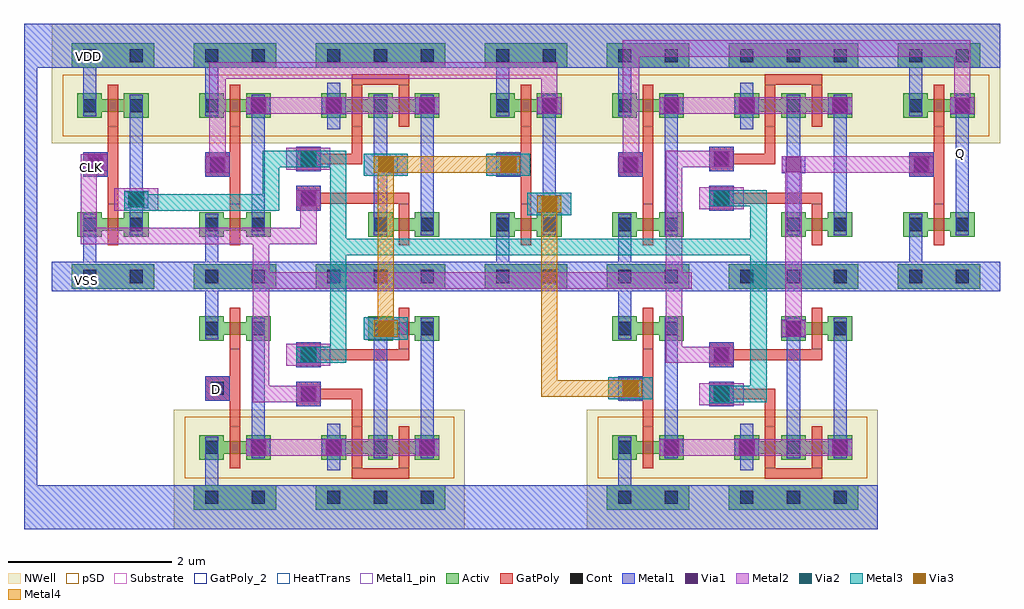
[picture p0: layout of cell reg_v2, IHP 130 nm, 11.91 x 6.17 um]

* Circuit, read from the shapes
.subckt reg_v2 CLK D Q VDD VSS
XM1 inv_10/VOUT CLK VSS VSS sg13_lv_nmos w=0.15u l=0.13u
XM2 tg_custom_0/VIN D VSS VSS sg13_lv_nmos w=0.15u l=0.13u
XM3 tg_custom_5/VIN inv_2/VIN VSS VSS sg13_lv_nmos w=0.15u l=0.13u
XM4 tg_custom_0/VIN inv_10/VOUT inv_4/VIN VSS sg13_lv_nmos w=0.15u l=0.13u
XM5 tg_custom_5/VIN CLK inv_4/VIN VSS sg13_lv_nmos w=0.15u l=0.13u
XM6 inv_2/VIN inv_4/VIN VSS VSS sg13_lv_nmos w=0.15u l=0.13u
XM7 tg_custom_6/VIN inv_2/VIN VSS VSS sg13_lv_nmos w=0.15u l=0.13u
XM8 tg_custom_7/VIN Q VSS VSS sg13_lv_nmos w=0.15u l=0.13u
XM9 tg_custom_6/VIN CLK inv_9/VIN VSS sg13_lv_nmos w=0.15u l=0.13u
XM10 tg_custom_7/VIN inv_10/VOUT inv_9/VIN VSS sg13_lv_nmos w=0.15u l=0.13u
XM11 Q inv_9/VIN VSS VSS sg13_lv_nmos w=0.15u l=0.13u
XM12 inv_10/VOUT CLK VDD VDD sg13_lv_pmos w=0.15u l=0.13u
XM13 tg_custom_0/VIN D VDD VDD sg13_lv_pmos w=0.15u l=0.13u
XM14 tg_custom_5/VIN inv_2/VIN VDD VDD sg13_lv_pmos w=0.15u l=0.13u
XM15 inv_4/VIN CLK tg_custom_0/VIN VDD sg13_lv_pmos w=0.15u l=0.13u m=2
XM16 inv_4/VIN inv_10/VOUT tg_custom_5/VIN VDD sg13_lv_pmos w=0.15u l=0.13u m=2
XM17 inv_2/VIN inv_4/VIN VDD VDD sg13_lv_pmos w=0.15u l=0.13u
XM18 tg_custom_6/VIN inv_2/VIN VDD VDD sg13_lv_pmos w=0.15u l=0.13u
XM19 tg_custom_7/VIN Q VDD VDD sg13_lv_pmos w=0.15u l=0.13u
XM20 inv_9/VIN inv_10/VOUT tg_custom_6/VIN VDD sg13_lv_pmos w=0.15u l=0.13u m=2
XM21 inv_9/VIN CLK tg_custom_7/VIN VDD sg13_lv_pmos w=0.15u l=0.13u m=2
XM22 Q inv_9/VIN VDD VDD sg13_lv_pmos w=0.15u l=0.13u
.ends

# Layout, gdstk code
from math import pi, radians
import gdstk
lib = gdstk.Library(unit=1e-6, precision=5e-09)
def R(c, l, rs):  # rectangles x0, y0, x1, y1
    for r in rs: c.add(gdstk.rectangle(r[:2], r[2:], *l))
def A(c, l, x, y, w, h, nx, ny, dx, dy):  # array of equal rectangles
    R(c, l, [(x+i*dx, y+j*dy, x+i*dx+w, y+j*dy+h) for i in range(nx) for j in range(ny)])
Activ = (1, 0)
GatPoly = (5, 0)
GatPoly_2 = (5, 2)
Cont = (6, 0)
Metal1 = (8, 0)
Metal1_pin = (8, 2)
Metal2 = (10, 0)
pSD = (14, 0)
Via1 = (19, 0)
Via2 = (29, 0)
Metal3 = (30, 0)
NWell = (31, 0)
Substrate = (40, 0)
Via3 = (49, 0)
Metal4 = (50, 0)
HeatTrans = (51, 0)

nmos = lib.new_cell('nmos')
R(nmos, Activ, [(0,0,0.3,0.3), (0.57,0,0.87,0.3), (0,0.075,0.87,0.225)])
R(nmos, GatPoly, [(0.37,-0.105,0.5,0.405)])
R(nmos, GatPoly_2, [(0.37,-0.105,0.5,0.405)])
R(nmos, Cont, [(0.07,0.07,0.23,0.23), (0.64,0.07,0.8,0.23)])
R(nmos, Metal1, [(0.07,0.02,0.23,0.28), (0.64,0.02,0.8,0.28)])
R(nmos, Metal1_pin, [(0.07,0.02,0.23,0.28), (0.64,0.02,0.8,0.28)])
R(nmos, HeatTrans, [(0.37,-0.105,0.5,0.405)])
nmos.add(gdstk.Label('nmos', (0.435,0.15), layer=63, texttype=0))
nmos.add(gdstk.Label('nmos', (0.435,0.15), layer=51, texttype=0))

pmos = lib.new_cell('pmos')
A(pmos, Activ, 0, 0, 0.3, 0.3, 3, 1, 0.57, 0)
R(pmos, Activ, [(0,0.075,1.44,0.225)])
R(pmos, GatPoly, [(0.37,-0.105,0.5,0.405), (0.37,-0.105,0.5,0.405), (0.94,-0.105,1.07,0.405)])
A(pmos, Cont, 0.07, 0.07, 0.16, 0.16, 3, 1, 0.57, 0)
R(pmos, Metal1, [(0.07,0.02,0.23,0.28), (0.07,0.02,0.23,0.28), (0.64,0.02,0.8,0.28), (0.64,0.02,0.8,0.28), (1.21,0.02,1.37,0.28)])
R(pmos, pSD, [(-0.18,-0.225,1.62,0.525)])
R(pmos, NWell, [(-0.31,-0.31,1.75,0.61)])
R(pmos, Substrate, [(1.14,0,1.44,0.3)])
R(pmos, HeatTrans, [(0.37,-0.105,0.5,0.405), (0.94,-0.105,1.07,0.405)])
pmos.add(gdstk.Label('pmos', (0.435,0.15), layer=63, texttype=0))
pmos.add(gdstk.Label('pmos', (0.435,0.15), layer=51, texttype=0))
pmos.add(gdstk.Label('pmos', (1.005,0.15), layer=51, texttype=0))

nmos_1 = lib.new_cell('nmos$1')
R(nmos_1, Activ, [(0,0,0.3,0.3), (0.57,0,0.87,0.3), (0,0.075,0.87,0.225)])
R(nmos_1, GatPoly, [(0.37,-0.105,0.5,0.405)])
R(nmos_1, GatPoly_2, [(0.37,-0.105,0.5,0.405)])
R(nmos_1, Cont, [(0.07,0.07,0.23,0.23), (0.64,0.07,0.8,0.23)])
R(nmos_1, Metal1, [(0.07,0.02,0.23,0.28), (0.64,0.02,0.8,0.28)])
R(nmos_1, Metal1_pin, [(0.07,0.02,0.23,0.28), (0.64,0.02,0.8,0.28)])
R(nmos_1, HeatTrans, [(0.37,-0.105,0.5,0.405)])
nmos_1.add(gdstk.Label('nmos', (0.435,0.15), layer=63, texttype=0))
nmos_1.add(gdstk.Label('nmos', (0.435,0.15), layer=51, texttype=0))

pmos_1 = lib.new_cell('pmos$1')
A(pmos_1, Activ, 0, 0, 0.3, 0.3, 3, 1, 0.57, 0)
R(pmos_1, Activ, [(0,0.075,1.44,0.225)])
R(pmos_1, GatPoly, [(0.37,-0.105,0.5,0.405), (0.37,-0.105,0.5,0.405), (0.94,-0.105,1.07,0.405)])
A(pmos_1, Cont, 0.07, 0.07, 0.16, 0.16, 3, 1, 0.57, 0)
R(pmos_1, Metal1, [(0.07,0.02,0.23,0.28), (0.07,0.02,0.23,0.28), (0.64,0.02,0.8,0.28), (0.64,0.02,0.8,0.28), (1.21,0.02,1.37,0.28)])
R(pmos_1, pSD, [(-0.18,-0.225,1.62,0.525)])
R(pmos_1, NWell, [(-0.31,-0.31,1.75,0.61)])
R(pmos_1, Substrate, [(1.14,0,1.44,0.3)])
R(pmos_1, HeatTrans, [(0.37,-0.105,0.5,0.405), (0.94,-0.105,1.07,0.405)])
pmos_1.add(gdstk.Label('pmos', (0.435,0.15), layer=63, texttype=0))
pmos_1.add(gdstk.Label('pmos', (0.435,0.15), layer=51, texttype=0))
pmos_1.add(gdstk.Label('pmos', (1.005,0.15), layer=51, texttype=0))

tg_custom = lib.new_cell('tg_custom')
R(tg_custom, Activ, [(0.445,0.87,2.025,1.17), (0.445,0.87,2.025,1.17), (0.445,3.565,2.025,3.865), (0.445,3.565,2.025,3.865)])
R(tg_custom, GatPoly, [(1.965,1.825,2.265,2.125), (1.965,1.825,2.265,2.125), (0.885,1.91,1.965,2.04), (0.885,1.91,1.965,2.04), (1.965,2.305,2.265,2.605), (1.965,2.305,2.265,2.605), (1.455,2.39,1.585,2.85), (1.455,2.39,1.585,2.85), (1.455,2.39,1.965,2.52), (1.455,2.39,1.965,2.52), (0.885,3.36,1.585,3.49), (0.885,3.36,1.585,3.49)])
R(tg_custom, Cont, [(0.585,0.94,0.745,1.1), (0.585,0.94,0.745,1.1), (1.155,0.94,1.315,1.1), (1.155,0.94,1.315,1.1), (1.725,0.94,1.885,1.1), (1.725,0.94,1.885,1.1), (2.035,1.895,2.195,2.055), (2.035,1.895,2.195,2.055), (2.035,2.375,2.195,2.535), (2.035,2.375,2.195,2.535), (0.585,3.635,0.745,3.795), (0.585,3.635,0.745,3.795), (1.155,3.635,1.315,3.795), (1.155,3.635,1.315,3.795), (1.725,3.635,1.885,3.795), (1.725,3.635,1.885,3.795)])
R(tg_custom, Metal1, [(0.205,0.84,2.265,1.2), (0.205,0.84,2.265,1.2), (0.585,1.525,0.745,3.235), (0.585,1.525,0.745,3.235), (1.155,1.525,1.315,3.235), (1.155,1.525,1.315,3.235), (1.965,1.825,2.265,2.125), (1.965,1.825,2.265,2.125), (1.965,2.305,2.265,2.605), (1.965,2.305,2.265,2.605), (1.725,2.815,1.885,3.385), (1.725,2.815,1.885,3.385), (0.52,3,0.81,3.21), (0.52,3,0.81,3.21), (1.66,3,1.95,3.21), (1.66,3,1.95,3.21), (0.205,3.565,2.265,4.105), (0.205,3.565,2.265,4.105)])
R(tg_custom, Metal1_pin, [(0.205,0.84,2.265,1.2), (0.205,0.84,2.265,1.2), (0.585,1.525,0.745,3.235), (0.585,1.525,0.745,3.235), (1.155,1.525,1.315,3.235), (1.155,1.525,1.315,3.235), (1.965,1.825,2.265,2.125), (1.965,1.825,2.265,2.125), (1.965,2.305,2.265,2.605), (1.965,2.305,2.265,2.605), (0.205,3.565,2.265,4.105), (0.205,3.565,2.265,4.105)])
R(tg_custom, Metal2, [(0.52,3.005,1.95,3.205), (0.52,3.005,1.95,3.205), (0.52,3.005,0.81,3.205), (0.52,3.005,0.81,3.205), (1.66,3.005,1.95,3.205), (1.66,3.005,1.95,3.205)])
R(tg_custom, pSD, [(0.205,0.84,2.265,1.2), (0.205,0.84,2.265,1.2)])
R(tg_custom, Via1, [(0.57,3.01,0.76,3.2), (0.57,3.01,0.76,3.2), (1.71,3.01,1.9,3.2), (1.71,3.01,1.9,3.2)])
R(tg_custom, NWell, [(0.205,3.565,2.265,4.105), (0.205,3.565,2.265,4.105)])
tg_custom.add(gdstk.Reference(nmos, (0.515,1.505)))
tg_custom.add(gdstk.Reference(pmos, (0.515,2.955)))
tg_custom.add(gdstk.Reference(nmos_1, (0.515,1.505)))
tg_custom.add(gdstk.Reference(pmos_1, (0.515,2.955)))
tg_custom.add(gdstk.Label('VBN', (1.335,1.02), layer=8, texttype=25))
tg_custom.add(gdstk.Label('VOUT', (1.16,1.98), layer=8, texttype=25))
tg_custom.add(gdstk.Label('VSP', (2.115,2.455), layer=8, texttype=25))
tg_custom.add(gdstk.Label('VIN', (0.6,3.21), layer=8, texttype=25))
tg_custom.add(gdstk.Label('VSN', (2.115,1.975), layer=8, texttype=25))
tg_custom.add(gdstk.Label('VBP', (1.235,3.715), layer=8, texttype=25))
tg_custom.add(gdstk.Label('VBN', (1.335,1.02), layer=8, texttype=25))
tg_custom.add(gdstk.Label('VOUT', (1.16,1.98), layer=8, texttype=25))
tg_custom.add(gdstk.Label('VSP', (2.115,2.455), layer=8, texttype=25))
tg_custom.add(gdstk.Label('VIN', (0.6,3.21), layer=8, texttype=25))
tg_custom.add(gdstk.Label('VSN', (2.115,1.975), layer=8, texttype=25))
tg_custom.add(gdstk.Label('VBP', (1.235,3.715), layer=8, texttype=25))

pmos_1_1 = lib.new_cell('pmos$1$1')
R(pmos_1_1, Activ, [(0,0,0.3,0.3), (0.57,0,0.87,0.3), (0,0.075,0.87,0.225)])
R(pmos_1_1, GatPoly, [(0.37,-0.105,0.5,0.405), (0.37,-0.105,0.5,0.405)])
R(pmos_1_1, Cont, [(0.07,0.07,0.23,0.23), (0.64,0.07,0.8,0.23)])
R(pmos_1_1, Metal1, [(0.07,0.02,0.23,0.28), (0.07,0.02,0.23,0.28), (0.64,0.02,0.8,0.28), (0.64,0.02,0.8,0.28)])
R(pmos_1_1, pSD, [(-0.18,-0.225,1.05,0.525)])
R(pmos_1_1, NWell, [(-0.31,-0.31,1.18,0.61)])
R(pmos_1_1, Substrate, [(0.57,0,0.87,0.3)])
R(pmos_1_1, HeatTrans, [(0.37,-0.105,0.5,0.405)])
pmos_1_1.add(gdstk.Label('pmos', (0.435,0.15), layer=63, texttype=0))
pmos_1_1.add(gdstk.Label('pmos', (0.435,0.15), layer=51, texttype=0))

nmos_1_1 = lib.new_cell('nmos$1$1')
R(nmos_1_1, Activ, [(0,0,0.3,0.3), (0.57,0,0.87,0.3), (0,0.075,0.87,0.225)])
R(nmos_1_1, GatPoly, [(0.37,-0.105,0.5,0.405)])
R(nmos_1_1, GatPoly_2, [(0.37,-0.105,0.5,0.405)])
R(nmos_1_1, Cont, [(0.07,0.07,0.23,0.23), (0.64,0.07,0.8,0.23)])
R(nmos_1_1, Metal1, [(0.07,0.02,0.23,0.28), (0.64,0.02,0.8,0.28)])
R(nmos_1_1, Metal1_pin, [(0.07,0.02,0.23,0.28), (0.64,0.02,0.8,0.28)])
R(nmos_1_1, HeatTrans, [(0.37,-0.105,0.5,0.405)])
nmos_1_1.add(gdstk.Label('nmos', (0.435,0.15), layer=63, texttype=0))
nmos_1_1.add(gdstk.Label('nmos', (0.435,0.15), layer=51, texttype=0))

pmos_1_2 = lib.new_cell('pmos$1$2')
R(pmos_1_2, Activ, [(0,0,0.3,0.3), (0.57,0,0.87,0.3), (0,0.075,0.87,0.225)])
R(pmos_1_2, GatPoly, [(0.37,-0.105,0.5,0.405), (0.37,-0.105,0.5,0.405)])
R(pmos_1_2, Cont, [(0.07,0.07,0.23,0.23), (0.64,0.07,0.8,0.23)])
R(pmos_1_2, Metal1, [(0.07,0.02,0.23,0.28), (0.07,0.02,0.23,0.28), (0.64,0.02,0.8,0.28), (0.64,0.02,0.8,0.28)])
R(pmos_1_2, pSD, [(-0.18,-0.225,1.05,0.525)])
R(pmos_1_2, NWell, [(-0.31,-0.31,1.18,0.61)])
R(pmos_1_2, Substrate, [(0.57,0,0.87,0.3)])
R(pmos_1_2, HeatTrans, [(0.37,-0.105,0.5,0.405)])
pmos_1_2.add(gdstk.Label('pmos', (0.435,0.15), layer=63, texttype=0))
pmos_1_2.add(gdstk.Label('pmos', (0.435,0.15), layer=51, texttype=0))

nmos_1_2 = lib.new_cell('nmos$1$2')
R(nmos_1_2, Activ, [(0,0,0.3,0.3), (0.57,0,0.87,0.3), (0,0.075,0.87,0.225)])
R(nmos_1_2, GatPoly, [(0.37,-0.105,0.5,0.405)])
R(nmos_1_2, GatPoly_2, [(0.37,-0.105,0.5,0.405)])
R(nmos_1_2, Cont, [(0.07,0.07,0.23,0.23), (0.64,0.07,0.8,0.23)])
R(nmos_1_2, Metal1, [(0.07,0.02,0.23,0.28), (0.64,0.02,0.8,0.28)])
R(nmos_1_2, Metal1_pin, [(0.07,0.02,0.23,0.28), (0.64,0.02,0.8,0.28)])
R(nmos_1_2, HeatTrans, [(0.37,-0.105,0.5,0.405)])
nmos_1_2.add(gdstk.Label('nmos', (0.435,0.15), layer=63, texttype=0))
nmos_1_2.add(gdstk.Label('nmos', (0.435,0.15), layer=51, texttype=0))

inv = lib.new_cell('inv')
R(inv, Activ, [(0.48,-0.04,1.49,0.26), (0.48,-0.04,1.49,0.26), (0.48,2.655,1.49,2.955), (0.48,2.655,1.49,2.955)])
R(inv, GatPoly, [(0.92,0.76,1.05,2.45), (0.92,0.76,1.05,2.45), (0.62,1.325,0.92,1.625), (0.62,1.325,0.92,1.625)])
R(inv, Cont, [(0.62,0.03,0.78,0.19), (0.62,0.03,0.78,0.19), (1.19,0.03,1.35,0.19), (1.19,0.03,1.35,0.19), (0.69,1.395,0.85,1.555), (0.69,1.395,0.85,1.555), (0.62,2.725,0.78,2.885), (0.62,2.725,0.78,2.885), (1.19,2.725,1.35,2.885), (1.19,2.725,1.35,2.885)])
R(inv, Metal1, [(0.24,-0.07,1.73,0.29), (0.24,-0.07,1.73,0.29), (0.62,-0.04,0.78,0.875), (0.62,-0.04,0.78,0.875), (1.19,0.615,1.35,2.325), (1.19,0.615,1.35,2.325), (0.62,1.325,0.92,1.625), (0.62,1.325,0.92,1.625), (0.62,2.065,0.78,2.955), (0.62,2.065,0.78,2.955), (0.24,2.655,1.73,3.195), (0.24,2.655,1.73,3.195)])
R(inv, Metal1_pin, [(0.24,-0.07,1.73,0.29), (0.24,-0.07,1.73,0.29), (1.19,0.615,1.35,2.325), (1.19,0.615,1.35,2.325), (0.62,1.325,0.92,1.625), (0.62,1.325,0.92,1.625), (0.24,2.655,1.73,3.195), (0.24,2.655,1.73,3.195)])
R(inv, pSD, [(0.24,-0.07,1.73,0.29), (0.24,-0.07,1.73,0.29)])
R(inv, NWell, [(0.24,2.655,1.73,3.195), (0.24,2.655,1.73,3.195)])
inv.add(gdstk.Reference(pmos_1_1, (0.55,2.045)))
inv.add(gdstk.Reference(nmos_1_1, (0.55,0.595)))
inv.add(gdstk.Reference(pmos_1_2, (0.55,2.045)))
inv.add(gdstk.Reference(nmos_1_2, (0.55,0.595)))
inv.add(gdstk.Label('VSS', (0.64,0.09), layer=8, texttype=25))
inv.add(gdstk.Label('VDD', (0.675,2.805), layer=8, texttype=25))
inv.add(gdstk.Label('VIN', (0.73,1.475), layer=8, texttype=25))
inv.add(gdstk.Label('VOUT', (1.2,1.665), layer=8, texttype=25))
inv.add(gdstk.Label('VSS', (0.64,0.09), layer=8, texttype=25))
inv.add(gdstk.Label('VDD', (0.675,2.805), layer=8, texttype=25))
inv.add(gdstk.Label('VIN', (0.73,1.475), layer=8, texttype=25))
inv.add(gdstk.Label('VOUT', (1.2,1.665), layer=8, texttype=25))

reg_v2 = lib.new_cell('reg_v2')
R(reg_v2, Metal1, [(2,4.32,12.42,4.86), (2,4.32,2.16,10.49), (4.715,5.215,5.005,5.425), (9.755,5.215,10.045,5.425), (5.325,5.865,5.615,6.075), (10.365,5.865,10.655,6.075), (9.255,5.935,9.545,6.145), (5.325,6.345,5.615,6.555), (10.365,6.345,10.655,6.555), (6.27,6.665,6.56,6.875), (11.245,6.665,11.535,6.875), (8.265,8.185,8.555,8.395), (3.225,8.24,3.515,8.45), (5.325,8.255,5.615,8.465), (10.365,8.255,10.655,8.465), (4.215,8.665,4.505,8.875), (6.27,8.665,6.56,8.875), (7.765,8.665,8.055,8.875), (9.255,8.665,9.545,8.875), (11.245,8.665,11.535,8.875), (12.805,8.665,13.095,8.875), (2.725,8.69,3.015,8.9), (5.325,8.735,5.615,8.945), (10.365,8.735,10.655,8.945), (4.715,9.385,5.005,9.595), (8.265,9.385,8.555,9.595), (9.755,9.385,10.045,9.595), (13.305,9.385,13.595,9.595), (2,9.95,2.34,10.49)])
R(reg_v2, Metal1_pin, [(2,4.32,12.42,4.86), (2,4.32,2.16,10.49), (2.34,7.225,13.91,7.585), (2,9.95,13.91,10.49)])
R(reg_v2, Metal2, [(4.715,5.22,5.005,5.42), (4.715,5.22,5.925,5.42), (9.755,5.22,10.045,5.42), (9.755,5.22,10.965,5.42), (10.24,5.835,10.78,6.105), (4.79,5.87,5.615,6.07), (4.79,5.87,4.99,8), (5.325,5.87,5.615,6.07), (9.13,5.905,9.67,6.175), (5.2,6.315,5.74,6.585), (9.83,6.35,10.655,6.55), (9.83,6.35,10.03,8.94), (10.365,6.35,10.655,6.55), (6.145,6.635,6.685,6.905), (11.245,6.67,11.535,6.87), (11.29,6.67,11.49,8.87), (4.91,7.255,10.15,7.455), (2.69,7.8,5.57,8), (2.69,7.8,2.89,8.895), (5.37,7.8,5.57,8.455), (8.14,8.155,8.68,8.425), (3.1,8.21,3.64,8.48), (10.24,8.225,10.78,8.495), (5.325,8.26,5.615,8.46), (6.145,8.635,6.685,8.905), (7.64,8.635,8.18,8.905), (4.215,8.67,4.505,8.87), (9.255,8.67,9.545,8.87), (9.305,8.67,9.505,10.285), (11.245,8.67,11.535,8.87), (11.245,8.67,13.095,8.87), (12.805,8.67,13.095,8.87), (4.26,8.675,4.46,10.02), (2.69,8.695,3.015,8.895), (2.725,8.695,3.015,8.895), (5.2,8.705,5.74,8.975), (9.83,8.74,10.655,8.94), (10.365,8.74,10.655,8.94), (4.715,9.39,5.005,9.59), (4.715,9.39,5.925,9.59), (8.265,9.39,8.555,9.59), (9.755,9.39,10.045,9.59), (9.755,9.39,10.965,9.59), (13.305,9.39,13.595,9.59), (8.31,9.395,8.51,10.02), (13.35,9.395,13.55,10.285), (4.26,9.82,8.51,10.02), (9.305,10.085,13.55,10.285)])
A(reg_v2, pSD, 7.25, 9.115, 0.26, 0.75, 3, 1, 1.49, 0)
R(reg_v2, pSD, [(5.19,4.945,5.45,5.695), (10.23,4.945,10.49,5.695), (3.7,9.115,3.96,9.865), (5.19,9.115,5.45,9.865), (12.29,9.115,12.55,9.865)])
R(reg_v2, Via1, [(4.765,5.225,4.955,5.415), (9.805,5.225,9.995,5.415), (5.375,5.875,5.565,6.065), (10.415,5.875,10.605,6.065), (9.305,5.945,9.495,6.135), (5.375,6.355,5.565,6.545), (10.415,6.355,10.605,6.545), (6.32,6.675,6.51,6.865), (11.295,6.675,11.485,6.865), (8.315,8.195,8.505,8.385), (3.275,8.25,3.465,8.44), (5.375,8.265,5.565,8.455), (10.415,8.265,10.605,8.455), (4.265,8.675,4.455,8.865), (6.32,8.675,6.51,8.865), (7.815,8.675,8.005,8.865), (9.305,8.675,9.495,8.865), (11.295,8.675,11.485,8.865), (12.855,8.675,13.045,8.865), (2.775,8.7,2.965,8.89), (5.375,8.745,5.565,8.935), (10.415,8.745,10.605,8.935), (4.765,9.395,4.955,9.585), (8.315,9.395,8.505,9.585), (9.805,9.395,9.995,9.585), (13.355,9.395,13.545,9.585)])
R(reg_v2, Via2, [(10.415,5.875,10.605,6.065), (9.305,5.945,9.495,6.135), (5.375,6.355,5.565,6.545), (6.32,6.675,6.51,6.865), (8.315,8.195,8.505,8.385), (3.275,8.25,3.465,8.44), (10.415,8.265,10.605,8.455), (6.32,8.675,6.51,8.865), (7.815,8.675,8.005,8.865), (5.375,8.745,5.565,8.935)])
R(reg_v2, Metal3, [(10.365,5.86,10.655,6.08), (10.365,5.87,11.065,6.07), (10.865,5.87,11.065,8.46), (9.13,5.905,9.67,6.175), (5.325,6.35,5.615,6.55), (5.325,6.35,5.935,6.55), (5.735,6.35,5.935,8.94), (6.145,6.635,6.685,6.905), (5.735,7.665,11.065,7.865), (8.14,8.155,8.68,8.425), (3.225,8.21,5.115,8.41), (4.915,8.21,5.115,8.94), (3.225,8.245,3.515,8.445), (10.365,8.26,10.655,8.46), (10.365,8.26,11.065,8.46), (6.145,8.635,6.685,8.905), (7.64,8.635,8.18,8.905), (4.915,8.74,5.935,8.94), (5.325,8.74,5.615,8.94)])
R(reg_v2, Via3, [(9.305,5.945,9.495,6.135), (6.32,6.675,6.51,6.865), (8.315,8.195,8.505,8.385), (6.32,8.675,6.51,8.865), (7.815,8.675,8.005,8.865)])
R(reg_v2, Metal4, [(8.31,5.94,8.51,8.39), (8.31,5.94,9.545,6.14), (9.255,5.94,9.545,6.14), (6.27,6.67,6.56,6.87), (6.315,6.67,6.515,8.87), (8.265,8.19,8.555,8.39), (6.27,8.67,6.56,8.87), (6.27,8.67,8.055,8.87), (7.765,8.67,8.055,8.87)])
reg_v2.add(gdstk.Reference(tg_custom, (7.585,8.425), rotation=pi))
reg_v2.add(gdstk.Reference(inv, (3.59,7.515), x_reflection=True))
reg_v2.add(gdstk.Reference(inv, (3.59,7.295)))
reg_v2.add(gdstk.Reference(inv, (8.63,7.295)))
reg_v2.add(gdstk.Reference(inv, (7.14,7.295)))
reg_v2.add(gdstk.Reference(tg_custom, (7.585,6.385), rotation=pi, x_reflection=True))
reg_v2.add(gdstk.Reference(tg_custom, (12.625,8.425), rotation=pi))
reg_v2.add(gdstk.Reference(tg_custom, (12.625,6.385), rotation=pi, x_reflection=True))
reg_v2.add(gdstk.Reference(inv, (8.63,7.515), x_reflection=True))
reg_v2.add(gdstk.Reference(inv, (12.18,7.295)))
reg_v2.add(gdstk.Reference(inv, (2.1,7.295)))
reg_v2.add(gdstk.Label('CLK', (2.82,8.735), layer=8, texttype=25))
reg_v2.add(gdstk.Label('D', (4.35,6.02), layer=8, texttype=25))
reg_v2.add(gdstk.Label('Q', (13.43,8.9), layer=8, texttype=25))
reg_v2.add(gdstk.Label('VDD', (2.79,10.085), layer=8, texttype=25))
reg_v2.add(gdstk.Label('VSS', (2.76,7.36), layer=8, texttype=25))

lib.write_gds('reg_v2.gds')
